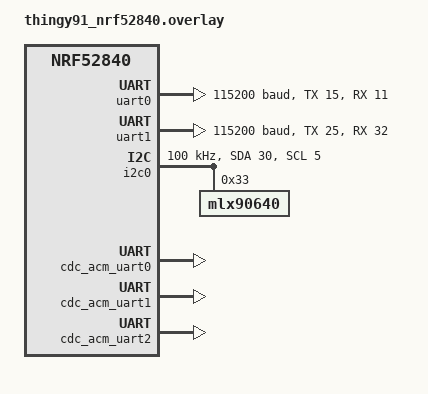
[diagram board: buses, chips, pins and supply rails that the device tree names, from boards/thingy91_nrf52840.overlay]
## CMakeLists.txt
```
cmake_minimum_required(VERSION 3.20.0)

# We are only building for one board
set(BOARD thingy91_nrf52840)

# If CONF_FILE is set then boards/${BOARD}.conf is not automatically merged anymore!
# Therefore only use OVERLAY_CONFIG
list(APPEND OVERLAY_CONFIG "overlay-credentials.conf")
list(APPEND OVERLAY_CONFIG "overlay-debug.conf")
list(APPEND OVERLAY_CONFIG "overlay-ble.conf")
list(APPEND OVERLAY_CONFIG "overlay-dfu.conf")
list(APPEND OVERLAY_CONFIG "overlay-memfault.conf")
list(APPEND OVERLAY_CONFIG "overlay-watchdog.conf")

#set(mcuboot_DTC_OVERLAY_FILE
# ${CMAKE_CURRENT_SOURCE_DIR}/child_image/mcuboot_dtc.overlay
#)

set(mcuboot_CONF_FILE
 ${CMAKE_CURRENT_SOURCE_DIR}/child_image/mcuboot.conf
)


find_package(Zephyr REQUIRED HINTS $ENV{ZEPHYR_BASE})
project(heaty_nrf52840)

target_sources(app PRIVATE
	src/main.c
	src/shell_commands.c
	)

target_sources_ifdef(CONFIG_ANALYSIS_MODULE app PRIVATE
	src/analysis/analysis_module.c
	src/analysis/analysis_module_event.c
	)

target_sources_ifdef(CONFIG_MQTT_MODULE app PRIVATE
	src/mqtt/mqtt_client.c
	src/mqtt/mqtt_module.c
	src/mqtt/mqtt_module_event.c
	)

target_sources_ifdef(CONFIG_NRF_MODEM_LIB app PRIVATE
	src/https_client.c
	)


target_sources_ifdef(CONFIG_CAF_BUTTONS app PRIVATE
	src/button_command.c
	)

add_subdirectory(../modules build)

add_subdirectory_ifdef(CONFIG_USB_NRF9160_BRIDGE_AVAILABLE src/commCtrl/bridge/events)
add_subdirectory_ifdef(CONFIG_USB_NRF9160_BRIDGE_AVAILABLE src/commCtrl/bridge/modules)

target_sources_ifdef(CONFIG_COMMCTRL_MODULE app PRIVATE
	src/commCtrl/commCtrl_module.c
	src/commCtrl/commCtrl_module_event.c
	)

zephyr_library_include_directories(src/commCtrl/bridge/events)

zephyr_include_directories(config)
zephyr_include_directories(config/${BOARD})
zephyr_include_directories(/opt/nordic/ncs/v1.8.0/nrfxlib/nrf_modem/include)
zephyr_include_directories(src)

zephyr_library_compile_options(-Wall -Wextra -Wno-unused-parameter -Wno-unused-variable -Wno-comment)
```

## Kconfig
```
rsource "../modules/Kconfig.myModules"

rsource "src/commCtrl/Kconfig.commCtrl_module"
rsource "src/commCtrl/bridge/modules/Kconfig"
rsource "src/commCtrl/bridge/events/Kconfig"

# In general, try to avoid adding redundant dependencies. They can make the structure of the Kconfig files harder to understand, and also make changes more error-prone, since it can be hard to spot that the same dependency is added twice.

menu "Zephyr Kernel"
source "Kconfig.zephyr"
endmenu

module = HEATY
module-str = Heaty nrf52840
source "${ZEPHYR_BASE}/subsys/logging/Kconfig.template.log_config"
```

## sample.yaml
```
sample:
  description: Hello World sample, the simplest Zephyr
    application
  name: hello world
common:
    tags: introduction
    integration_platforms:
      - native_posix
    harness: console
    harness_config:
      type: one_line
      regex:
        - "Hello World! (.*)"
tests:
  sample.basic.helloworld:
    tags: introduction
  sample.basic.helloworld.uefi:
    platform_allow: nrf52840dongle_nrf52840 thingy91_nrf52840
    extra_args: CONF_FILE=prj_uefi.conf
```

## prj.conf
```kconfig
### General Configuration
#--------------------
CONFIG_NEWLIB_LIBC=y
CONFIG_NEWLIB_LIBC_FLOAT_PRINTF=y
CONFIG_CBPRINTF_FP_SUPPORT=y
CONFIG_FPU=y
CONFIG_HW_STACK_PROTECTION=y
CONFIG_SPEED_OPTIMIZATIONS=y

### Memory Configuration
#--------------------
CONFIG_HEAP_MEM_POOL_SIZE=36000
CONFIG_MAIN_STACK_SIZE=4096
CONFIG_USB_WORKQUEUE_STACK_SIZE=2048

##############################
### Application features
##############################
CONFIG_LZ4=n
CONFIG_BASE64=y
CONFIG_CJSON_LIB=y
# wait for the usb serial being attached to log to start
CONFIG_WAIT_FOR_SERIAL_ATTACHED=n
CONFIG_WAIT_FOR_MANUAL_START=n
CONFIG_SENSORS_MODULE=y
CONFIG_SENSORS_MLX90640=y
CONFIG_HEAT_MAP_CYCLE=10
CONFIG_MCU_EXCHANGE_MODULE=y
CONFIG_BLE_MODULE=y
CONFIG_BLE_ENABLE_HEATY_SERVICE=y

CONFIG_DATE_TIME=y
# need to manually switch this off as no network is enabled and KConfig does not pass
CONFIG_DATE_TIME_NTP=n
CONFIG_BLE_ENABLE_TIME_SERVICE=y


# Application log levels
CONFIG_HEATY_LOG_LEVEL_DBG=y
CONFIG_BLE_MODULE_LOG_LEVEL_DBG=y
CONFIG_COMMCTRL_MODULE_LOG_LEVEL_DBG=y
CONFIG_SENSORS_MODULE_LOG_LEVEL_INF=y
CONFIG_MEMORY_STAT_LOG_LEVEL_INF=y
CONFIG_BRIDGE_UART_LOG_LEVEL_DBG=y
CONFIG_BRIDGE_CDC_LOG_LEVEL_DBG=y
CONFIG_MCU_EXCHANGE_MODULE_LOG_LEVEL_DBG=y

### Shell
#--------------------
CONFIG_SHELL=y
CONFIG_SHELL_ARGC_MAX=8
CONFIG_SHELL_CMD_BUFF_SIZE=416
CONFIG_SHELL_STACK_SIZE=4096
CONFIG_SHELL_VT100_COLORS=n


### Event Manager
#--------------------
CONFIG_EVENT_MANAGER=y
CONFIG_LINKER_ORPHAN_SECTION_PLACE=y
CONFIG_REBOOT=y
CONFIG_CAF=y


### USB Settings (shell, logging, serial DFU)
#--------------------
CONFIG_USB_DEVICE_STACK=y
CONFIG_USB_DEVICE_PRODUCT="Heaty"
CONFIG_USB_DEVICE_MANUFACTURER="J"
CONFIG_USB_DEVICE_SN="HTY_000000000000"
# set to any value to avoid the warning during build
CONFIG_USB_DEVICE_VID=0x1234
CONFIG_USB_DEVICE_PID=0x5678

CONFIG_USB_CDC_ACM_RINGBUF_SIZE=4096
CONFIG_USB_MAX_NUM_TRANSFERS=6

# Switch off unused USB features
CONFIG_USB_COMPOSITE_DEVICE=n
CONFIG_USB_MASS_STORAGE=n


### Communication with nrf9160
#--------------------
# Already set in thingy91_nrf52840_defconfig
# CONFIG_SERIAL=y
# CONFIG_CONSOLE=y
CONFIG_UART_CONSOLE=y
CONFIG_UART_LINE_CTRL=y
CONFIG_UART_INTERRUPT_DRIVEN=y
CONFIG_UART_0_INTERRUPT_DRIVEN=n
CONFIG_UART_1_INTERRUPT_DRIVEN=y
CONFIG_UART_ASYNC_API=y
CONFIG_UART_0_ASYNC=y
CONFIG_UART_0_NRF_HW_ASYNC=y
CONFIG_UART_0_NRF_HW_ASYNC_TIMER=1
CONFIG_NRFX_UARTE=y
CONFIG_NRFX_UARTE0=y
CONFIG_NRFX_UARTE1=y
CONFIG_NRFX_TIMER=y
CONFIG_NRFX_TIMER1=y
CONFIG_NRFX_TIMER2=y
CONFIG_NRFX_PPI=y

# Settings
CONFIG_FCB=y
CONFIG_SETTINGS=y
CONFIG_SETTINGS_FCB=y
CONFIG_FLASH=y
CONFIG_FLASH_PAGE_LAYOUT=y
CONFIG_FLASH_MAP=y
CONFIG_MPU_ALLOW_FLASH_WRITE=y
```

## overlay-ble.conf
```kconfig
### BLUETOOTH
#--------------------
CONFIG_BLE_MODULE=y

CONFIG_BT=y
CONFIG_BT_DEVICE_NAME="Heaty"
CONFIG_BT_PERIPHERAL=y
CONFIG_BT_PERIPHERAL_PREF_MIN_INT=6
CONFIG_BT_PERIPHERAL_PREF_MAX_INT=16
CONFIG_BT_PERIPHERAL_PREF_LATENCY=0
CONFIG_BT_PERIPHERAL_PREF_TIMEOUT=400
# Use SoftDevice Link Layer implementation. Required for latest greates BLE 4.x+ features. BT_CTLR_PHY_UPDATE_SUPPORT in our case.
CONFIG_BT_LL_SOFTDEVICE=y
CONFIG_BT_MAX_CONN=2
CONFIG_BT_MAX_PAIRED=2
CONFIG_BT_AUTO_PHY_UPDATE=y
CONFIG_BT_DATA_LEN_UPDATE=y
CONFIG_BT_HCI_ACL_FLOW_CONTROL=y
CONFIG_BT_L2CAP_TX_MTU=247
CONFIG_BT_BUF_ACL_RX_SIZE=251
CONFIG_BT_NUS=y
# Gatt client is required to exchange MTU sizes.
CONFIG_BT_GATT_CLIENT=y
# This must be set manually on the thingy91_nrf52840
CONFIG_BT_CTLR=y
CONFIG_BT_CTLR_RX_BUFFERS=10
CONFIG_BT_BUF_ACL_TX_COUNT=10
CONFIG_BT_BUF_ACL_TX_SIZE=251
CONFIG_BT_CTLR_DATA_LENGTH_MAX=251

CONFIG_BT_SETTINGS=y
# setting dependencies in main config
# CONFIG_FCB CONFIG_SETTINGS CONFIG_SETTINGS_FCB CONFIG_FLASH CONFIG_FLASH_PAGE_LAYOUT CONFIG_FLASH_MAP CONFIG_MPU_ALLOW_FLASH_WRITE
CONFIG_SHELL_BT_NUS=y
CONFIG_SHELL_BT_NUS_INIT_LOG_LEVEL_DBG=y
# for faster transfer speed when sending data via mcumgr. Choose a little less than MTU size
CONFIG_SHELL_BT_NUS_TX_RING_BUFFER_SIZE=224
CONFIG_SHELL_BT_NUS_RX_RING_BUFFER_SIZE=224
# Use the defaults here.
# CONFIG_SHELL_BT_NUS_LOG_MESSAGE_QUEUE_SIZE=10
# Logger thread is blocked for that period, thus long timeout impacts other logger backends and must be used with care.
# CONFIG_SHELL_BT_NUS_LOG_MESSAGE_QUEUE_TIMEOUT=1000

# Debugging
# CONFIG_BT_SHELL=y
# CONFIG_BT_DEBUG_LOG=y
# CONFIG_BT_DEBUG_SETTINGS=y

CONFIG_ISR_STACK_SIZE=1536
CONFIG_MAIN_STACK_SIZE=1024
CONFIG_IDLE_STACK_SIZE=512
CONFIG_BT_RX_STACK_SIZE=1600
# This is important not to crash!
CONFIG_BT_HCI_ECC_STACK_SIZE=1300
CONFIG_SYSTEM_WORKQUEUE_STACK_SIZE=4096

# I am on the same MCU, why do I need this?
# CONFIG_BT_HCI_ACL_FLOW_CONTROL=n
```

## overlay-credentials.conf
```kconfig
CONFIG_MEMFAULT_NCS_PROJECT_KEY="__REPLACE_ME__MEMFAULT_PROJECT_KEY"
```

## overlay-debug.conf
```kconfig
### Debug
#--------------------
CONFIG_DEBUG=y
CONFIG_USE_SEGGER_RTT=y


### Logging
#--------------------
CONFIG_LOG=y
CONFIG_LOG2_MODE_DEFERRED=y
CONFIG_LOG_BUFFER_SIZE=8096
CONFIG_LOG_PROCESS_THREAD_STACK_SIZE=1536

# logging over cdc usb needs CONFIG_CONSOLE, CONFIG_UART_CONSOLE and CONFIG_LOG_BACKEND_UART
CONFIG_CONSOLE=y
CONFIG_UART_CONSOLE=y
CONFIG_LOG_BACKEND_UART=y
CONFIG_LOG_BACKEND_RTT=y
CONFIG_SHELL_LOG_BACKEND=y

#increase buffers
CONFIG_LOG_BUFFER_SIZE=8192
CONFIG_SEGGER_RTT_BUFFER_SIZE_UP=8192

CONFIG_LOG_PROCESS_THREAD_STACK_SIZE=4096

# to make "shell_uart: update." silent
CONFIG_LOG_DEFAULT_LEVEL=1
# to make USB CDC not connected silent
CONFIG_USB_CDC_ACM_LOG_LEVEL_ERR=y

# BT NUS does not take care to stop the shell (logging) when disconnected. Silence failure notifications.
CONFIG_SHELL_BT_NUS_LOG_LEVEL_ERR=y

### Thread analyzer
#--------------------
# MEMFAULT_NCS_STACK_METRICS requires CONFIG_THREAD_ANALYZER
CONFIG_THREAD_ANALYZER=y
CONFIG_THREAD_ANALYZER_USE_LOG=n
CONFIG_THREAD_ANALYZER_AUTO=n
#CONFIG_THREAD_ANALYZER_AUTO_INTERVAL=3600
#CONFIG_THREAD_ANALYZER_AUTO_STACK_SIZE=1024
CONFIG_THREAD_NAME=y
CONFIG_THREAD_RUNTIME_STATS=y

### Heap memory statistics
#--------------------
CONFIG_HEAP_MEMORY_STATISTICS=n
CONFIG_MEMORY_STAT_LOG_LEVEL_DBG=y
```

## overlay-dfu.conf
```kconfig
### DFU MCU Manager and SMP configuration
#--------------------

# Already set in the thingy91_nrf52840_defconfig
# CONFIG_BOOTLOADER_MCUBOOT=y

CONFIG_MCUMGR=y
CONFIG_MCUMGR_CMD_IMG_MGMT=y
CONFIG_MCUMGR_CMD_OS_MGMT=y
CONFIG_MCUMGR_CMD_SHELL_MGMT=y
CONFIG_MCUMGR_BUF_COUNT=6
CONFIG_MCUMGR_BUF_SIZE=1202
CONFIG_MCUMGR_SMP_BT=y
CONFIG_MCUMGR_SMP_BT_AUTHEN=n
CONFIG_MCUMGR_SMP_SHELL=y

CONFIG_BT_SMP=y


# mcumgr-cli application doesn't accepts log in the channel it uses
# Shell is used for logging, so manually disabling log via shell is required
# CONFIG_SHELL_LOG_BACKEND=n

# Increase BT MTU and RX buffer for big size DFU messages
CONFIG_BT_L2CAP_TX_MTU=260
CONFIG_BT_BUF_ACL_RX_SIZE=264

# Increase Shell MTU and RX buffer for big size DFU messages
CONFIG_MCUMGR_SMP_SHELL_MTU=1200
CONFIG_MCUMGR_SMP_SHELL_RX_BUF_COUNT=4
CONFIG_SHELL_BACKEND_DUMMY_BUF_SIZE=1170

CONFIG_SHELL_BACKEND_SERIAL_INTERRUPT_DRIVEN=y
CONFIG_SHELL_BACKEND_SERIAL_TX_RING_BUFFER_SIZE=1200
CONFIG_SHELL_BACKEND_SERIAL_RX_RING_BUFFER_SIZE=1200

# Increase stack
CONFIG_SYSTEM_WORKQUEUE_STACK_SIZE=8096
```

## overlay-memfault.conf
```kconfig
### Memfault
#--------------------

# General
CONFIG_MEMFAULT=y
CONFIG_MEMFAULT_SHELL=y
CONFIG_MEMFAULT_USER_CONFIG_ENABLE=y

# Device info
CONFIG_MEMFAULT_NCS_HW_VERSION="0.1.0+"
CONFIG_MEMFAULT_NCS_DEVICE_ID_RUNTIME=y
CONFIG_MEMFAULT_NCS_DEVICE_ID_MAX_LEN=5
CONFIG_MEMFAULT_DEVICE_ID="52840"
CONFIG_MEMFAULT_NCS_FW_TYPE="heaty"
CONFIG_MEMFAULT_NCS_FW_VERSION_PREFIX="0.1.0+"
CONFIG_MEMFAULT_NCS_FW_VERSION_AUTO=y

# Switch http off on nrf52840
CONFIG_MEMFAULT_HTTP_ENABLE=n
CONFIG_MEMFAULT_ROOT_CERT_STORAGE_CUSTOM=y

# Collected metris
CONFIG_MEMFAULT_METRICS=y
CONFIG_MEMFAULT_METRICS_DEFAULT_SET_ENABLE=y
CONFIG_MEMFAULT_METRICS_EXTRA_DEFS_FILE=y
CONFIG_MEMFAULT_NCS_STACK_METRICS=y

# Include logging
CONFIG_MEMFAULT_LOGGING_ENABLE=y
CONFIG_MEMFAULT_LOGGING_RAM_SIZE=1024

# Store coredump to flash
CONFIG_MEMFAULT_COREDUMP_COLLECT_BSS_REGIONS=y
CONFIG_MEMFAULT_COREDUMP_COLLECT_DATA_REGIONS=y
CONFIG_MEMFAULT_NCS_INTERNAL_FLASH_BACKED_COREDUMP=y

# Dependencies MEMFAULT_NCS_INTERNAL_FLASH_BACKED_COREDUMP
CONFIG_FLASH=y
CONFIG_IMG_MANAGER=y
CONFIG_BOOTLOADER_MCUBOOT=y
CONFIG_MCUBOOT_IMG_MANAGER=y

# Dependencies other
CONFIG_NEWLIB_LIBC=y
CONFIG_BASE64=y
```

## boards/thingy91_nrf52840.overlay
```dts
/*
 * This code is based on the asset_tracker_v2 overlay which has the below license
 * nrf/applications/asset_tracker_v2/boards
 * 
 * Copyright (c) 2020 Nordic Semiconductor ASA
 *
 * SPDX-License-Identifier: LicenseRef-Nordic-5-Clause
 */

/ {
	chosen {
		zephyr,console = &cdc_acm_uart1;
		zephyr,shell-uart = &cdc_acm_uart2;
	};
};

&uart0 {
	compatible = "nordic,nrf-uarte";
	current-speed = <115200>;
	status = "okay";
	tx-pin = <15>;
	rx-pin = <11>;
//	/delete-property/ rts-pin;// <21>;
//	/delete-property/ cts-pin;// <20>;
};

&uart1 {
	current-speed = <115200>;
	status = "okay";
	tx-pin = <25>;
	rx-pin = <32>;
//	/delete-property/ rts-pin;// <22>;
//	/delete-property/ cts-pin;// <19>;
};

&i2c0 {
	compatible = "nordic,nrf-twim";
	status = "okay";
	sda-pin = <30>;
	scl-pin = <5>;
	clock-frequency = <I2C_BITRATE_STANDARD>;

	mlx90640: mlx90640@33 {
		compatible = "mlx90640";
		reg = <0x33>;
		label = "MLX90640";
	};
};

&zephyr_udc0 {
	cdc_acm_uart0: cdc_acm_uart0 {
		compatible = "zephyr,cdc-acm-uart";
		label = "CDC_ACM_0";
	};

	cdc_acm_uart1: cdc_acm_uart1 {
		compatible = "zephyr,cdc-acm-uart";
		label = "CDC_ACM_1";
	};

	cdc_acm_uart2: cdc_acm_uart2 {
		compatible = "zephyr,cdc-acm-uart";
		label = "CDC_ACM_2";
	};

};
```

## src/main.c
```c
#define MODULE main

#ifdef CONFIG_BOOTLOADER_MCUBOOT
#include <dfu/mcuboot.h>
#endif

#ifdef CONFIG_MCUMGR_CMD_SHELL_MGMT
#include "shell_mgmt/shell_mgmt.h"
#endif
#ifdef CONFIG_MCUMGR_CMD_OS_MGMT
#include "os_mgmt/os_mgmt.h"
#endif
#ifdef CONFIG_MCUMGR_CMD_IMG_MGMT
#include "img_mgmt/img_mgmt.h"
#endif

#ifdef CONFIG_MEMFAULT
#include <memfault/core/trace_event.h>
#ifdef CONFIG_NRF_MODEM_LIB
#include "diag.h"
#include <memfault/http/http_client.h>
#include <memfault/metrics/metrics.h>
#include "memfault/ports/zephyr/http.h"
#endif
#endif

#ifdef CONFIG_NRF_MODEM_LIB
#include <modem/lte_lc.h>
#endif

#include <caf/events/module_state_event.h>
#include <event_manager.h>
#include <logging/log.h>
#include <zephyr.h>

#include "common/modules_common.h"
#include "utils.h"
#include "util_settings.h"
#include "watchdog/watchdog.h"

#ifdef CONFIG_USB_DEVICE_STACK
#include "usb_console.h"
#endif

LOG_MODULE_REGISTER(MODULE, CONFIG_HEATY_LOG_LEVEL);

void sendReady() {
    module_set_state(MODULE_STATE_READY);
}

#ifdef CONFIG_MODEM_KEY_MGMT
#include "adafruit_certificates.h"

static sec_tag_t adafruit_tls_sec_tag[] = {kAdafruitRootCert_DigicertRootCa,
                                           kAdafruitRootCert_DigicertGeotrustCa,
                                           kAdafruitRootCert_Adafruit};

static const char* adafruit_certs[] = {ADAFRUIT_CERTS_PEM};
#endif

#ifdef CONFIG_NRF_MODEM_LIB
static int connect_lte() {
  LOG_DBG("Waiting for network.. ");
  int err = lte_lc_init_and_connect();
  if (err) {
    LOG_ERR("Failed to connect to the LTE network, err %d", err);
    return 1;
  }
  send_led_event(LED_EVENT_CONNECTED);
  return 0;
}
#endif

void main(void) {
#ifdef CONFIG_USB_DEVICE_STACK
  enable_usb_console();
#endif

#ifdef CONFIG_BOOTLOADER_MCUBOOT
  /* Check if the image is run in the REVERT mode and eventually
   * confirm it to prevent reverting on the next boot.
   */
  if (mcuboot_swap_type() == BOOT_SWAP_TYPE_REVERT) {
    if (boot_write_img_confirmed()) {
      LOG_ERR(
          "Confirming firmware image failed, it will be reverted on the next "
          "boot.");
    } else {
      LOG_INF("New device firmware image confirmed.");
    }
  }
#endif

#ifdef CONFIG_MCUMGR_CMD_SHELL_MGMT
  shell_mgmt_register_group();
#endif
#ifdef CONFIG_MCUMGR_CMD_OS_MGMT
  os_mgmt_register_group();
#endif
#ifdef CONFIG_MCUMGR_CMD_IMG_MGMT
  img_mgmt_register_group();
#endif

  LOG_INF("Hello World! %s\n", CONFIG_BOARD);
  LOG_INF("build time: " __DATE__ " " __TIME__);

  init_utils();

// CAF is not functional before sending MODULE_STATE_READY!
#ifdef CONFIG_CAF_LEDS
  send_led_event(LED_EVENT_STARTUP);
#endif

#ifdef CONFIG_MODEM_KEY_MGMT
  cert_provision(adafruit_tls_sec_tag, adafruit_certs,
                 sizeof(adafruit_tls_sec_tag) / sizeof(adafruit_tls_sec_tag[0]));
#endif

#ifdef CONFIG_NRF_MODEM_LIB
  connect_lte();
#endif

#ifdef CONFIG_MEMFAULT
#ifdef CONFIG_NRF_MODEM_LIB
  memfault_zephyr_port_post_data();
#endif
#endif

  if (event_manager_init()) {
    LOG_ERR("Event manager not initialized");

  } else {
#ifndef CONFIG_WAIT_FOR_MANUAL_START
    // sometimes crashes if not waiting here ... no idea why
    k_sleep(K_SECONDS(1));
    sendReady();
#endif
  }

  init_and_start_watchdog();
}
```

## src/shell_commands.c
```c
#ifdef CONFIG_SHELL

#include <shell/shell.h>

#ifdef CONFIG_MEMFAULT
#include <memfault/core/trace_event.h>
#include <memfault/metrics/metrics.h>

#include "common/diag.h"
#include "utils.h"
#endif

#include <logging/log.h>

#include "common/memory_hook.h"
LOG_MODULE_REGISTER(shell, CONFIG_HEATY_LOG_LEVEL);

#ifdef CONFIG_MEMFAULT
static int memfault_retrieve_data(const struct shell *shell, size_t argc, char **argv) {
  char *memfaultData;
  while (retrieve_memfault_data_as_base64(&memfaultData)) {
    if (memfaultData) {
      shell_print(
          shell,
          "memfault --project-key CONFIG_MEMFAULT_NCS_PROJECT_KEY post-chunk --encoding base64 %s",
          memfaultData);
    }
    my_free(memfaultData);
    LOG_DBG("Free %p", memfaultData);
  }
  return 0;
}

static int memfault_some_tests(const struct shell *shell, size_t argc, char **argv) {
  ARG_UNUSED(argc);
  ARG_UNUSED(argv);

  memfault_metrics_heartbeat_set_unsigned(MEMFAULT_METRICS_KEY(testMetric), 462);
  memfault_metrics_heartbeat_debug_trigger();

  return 0;
}
#endif

static int echo(const struct shell *shell, size_t argc, char **argv) {
  shell_print(shell, "argc = %d", argc);
  for (size_t cnt = 0; cnt < argc; cnt++) {
    shell_print(shell, "  argv[%d] = %s", cnt, argv[cnt]);
  }

  return 0;
}

static int log_hello(const struct shell *shell, size_t argc, char **argv) {
  LOG_INF("Hello World! %s\n", CONFIG_BOARD);
  LOG_INF("build time: " __DATE__ " " __TIME__);

  return 0;
}

extern void sendReady();
static int module_state_ready(const struct shell *shell, size_t argc, char **argv) {
  sendReady();
  return 0;
}

#include "../../test/testHeatMapData.h"
#include "sensors/sensors_ids.h"
#include "sensors/sensors_module_event.h"

static int sensors_mockReading_mlx90640(const struct shell *shell, size_t argc, char **argv) {
  uint16_t size = TESTHEATMAP_DECODED_HEIGHT * TESTHEATMAP_DECODED_WIDTH * sizeof(float);

  struct sensors_data_module_event *event = new_sensors_data_module_event(size);
  event->type = SENSORS_EVT_HEAT_MAP_DATA_READY;
  event->timestamp = k_uptime_get();
  event->sensorsId = SENSOR_HEAT_MAP;
  memcpy(event->dyndata.data, testHeatMapData, size);
  event->dyndata.size = size;

  EVENT_SUBMIT(event);
  return 0;
}

#ifdef CONFIG_HEAP_MEMORY_STATISTICS
static int get_memory_stats(const struct shell *shell, size_t argc, char **argv) {
  struct memory_stat_list *stats;
  uint16_t size = getMemoryStats(&stats);
  for (uint16_t i = 0; i < size; i++) {
    shell_print(shell, "%s: %d", get_memory_stat_str(stats[i].id), stats[i].len);
  }
  // exception here not to use my_free
  k_free(stats);
  return 0;
}

static int test_memory_stats(const struct shell *shell, size_t argc, char **argv) {
  int key = 10;
  int key2 = 11;
  int key3 = 12;
  struct memory_stat_list stats = {.id = 0, .len = 20};
  struct memory_stat_list stats2 = {.id = 1, .len = 21};
  struct memory_stat_list stats3 = {.id = 2, .len = 22};
  mapPutStat(&key, stats);
  mapPutStat(&key2, stats2);
  mapPutStat(&key3, stats3);

  struct memory_stat_list ret = {0};
  mapGetStat(&key2, &ret);
  int storedLen2 = ret.len;
  if (storedLen2 == stats2.len) {
    shell_print(shell, "test_memory_stats: 2 OK");
  } else {
    shell_print(shell, "test_memory_stats: comparison 2 FAIL");
  }
  mapRemoveStat(&key2);
  mapGetStat(&key, &ret);
  int storedLen = ret.len;
  if (storedLen == stats.len) {
    shell_print(shell, "test_memory_stats: 1 OK");
  } else {
    shell_print(shell, "test_memory_stats: comparison 1 FAIL");
  }
  mapGetStat(&key2, &ret);
  storedLen2 = ret.len;
  if (storedLen2 == 0) {
    shell_print(shell, "test_memory_stats: 2 OK");
  } else {
    shell_print(shell, "test_memory_stats: comparison 2 FAIL");
  }
  mapGetStat(&key3, &ret);
  int storedLen3 = ret.len;
  if (storedLen3 == stats3.len) {
    shell_print(shell, "test_memory_stats: 3 OK");
  } else {
    shell_print(shell, "test_memory_stats: comparison 3 FAIL");
  }
  return 0;
}
#endif

#include <sys/reboot.h>
static int reboot(const struct shell *shell, size_t argc, char **argv) {
  sys_reboot(SYS_REBOOT_COLD);
}

#include "mcu_exchange/mcu_exchange_module_event.h"
static int mock_error(const struct shell *shell, size_t argc, char **argv) {
  struct mcu_exchange_module_event *event = new_mcu_exchange_module_event(0);
  event->type = MCU_EXCHANGE_EVT_ERROR;
  event->received = false;
  EVENT_SUBMIT(event);
}

SHELL_STATIC_SUBCMD_SET_CREATE(
    sub_appCtrl, SHELL_CMD(echo, NULL, "Echo back t+he arguments", echo),
    SHELL_CMD(reboot, NULL, "System cold reboot", reboot),
    SHELL_CMD(mock_error, NULL, "Send MCU_EXCHANGE_EVT_ERROR", mock_error),
#ifdef CONFIG_MEMFAULT
    SHELL_CMD(memfault_retrieve_data, NULL, "Retrieve and log the memfault data",
              memfault_retrieve_data),
    SHELL_CMD(memfault_some_tests, NULL, "Retrieve and log the memfault data", memfault_some_tests),
#endif
    SHELL_CMD(log_hello, NULL, "Log hello", log_hello),
    SHELL_CMD(module_state_ready, NULL, "Log hello", module_state_ready),
    SHELL_CMD(sensors_mockReading_mlx90640, NULL, "Send mock reading",
              sensors_mockReading_mlx90640),
#ifdef CONFIG_HEAP_MEMORY_STATISTICS
    SHELL_CMD(get_memory_stats, NULL, "Get allocation leftovers", get_memory_stats),
    SHELL_CMD(test_memory_stats, NULL, "Get allocation leftovers", test_memory_stats),
#endif
    SHELL_SUBCMD_SET_END /* Array terminated. */
);
SHELL_CMD_REGISTER(appCtrl, &sub_appCtrl, "Control heaty nrf52840", NULL);

#endif
```
